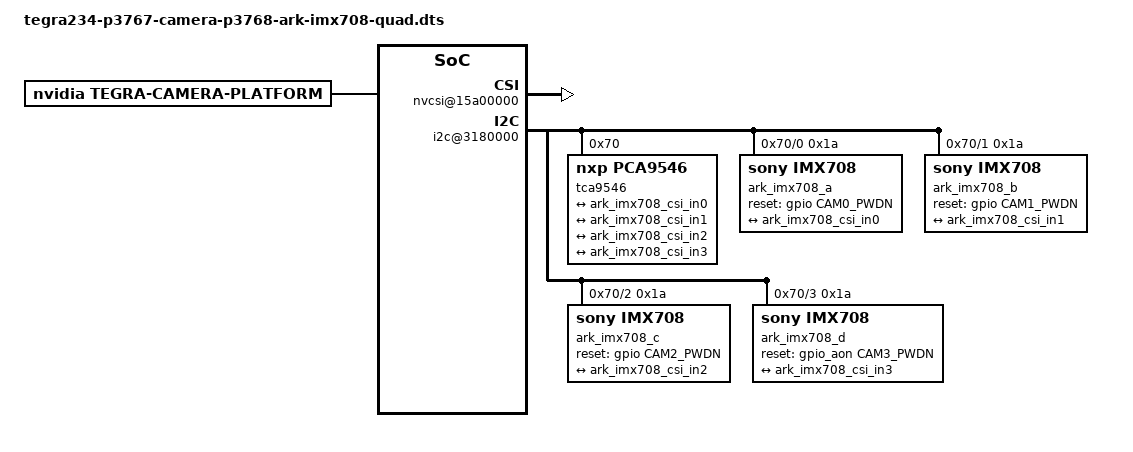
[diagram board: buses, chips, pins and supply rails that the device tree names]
// SPDX-License-Identifier: GPL-2.0-only
// SPDX-FileCopyrightText: Copyright (c) 2023-2024, NVIDIA CORPORATION & AFFILIATES. All rights reserved.
// SPDX-FileCopyrightText: Copyright (c) 2023, RidgeRun. All rights reserved.
//
// IMX708 (Raspberry Pi / Arducam Camera Module 3) 4-camera overlay for the ARK
// p3768 carrier (4x2-lane CSI). Carrier wiring (TCA9546 mux, per-port CAM reset and
// lane polarity) mirrors the IMX219 quad; sensor nodes and mode0 come from RidgeRun's
// IMX708 driver. One 10-bit mode, 4608x2592 @ ~14 fps, fixed focus.

/dts-v1/;
/plugin/;

#define CAM0_PWDN	TEGRA234_MAIN_GPIO(H, 6)
#define CAM1_PWDN	TEGRA234_MAIN_GPIO(AC, 0)
#define CAM2_PWDN	TEGRA234_MAIN_GPIO(Y, 4)
#define CAM3_PWDN	TEGRA234_AON_GPIO(CC, 3)
#define CAMERA_I2C_MUX_BUS(x) (0x1E + x)

#include <dt-bindings/tegra234-p3767-0000-common.h>

/ {
	overlay-name = "Camera ARK IMX708 Quad";
	jetson-header-name = "Jetson 22pin CSI Connector";
	compatible = JETSON_COMPATIBLE_P3768;

	fragment-camera@0 {
		target-path = "/";
		__overlay__ {
			tegra-capture-vi {
				num-channels = <4>;
				ports {
					#address-cells = <1>;
					#size-cells = <0>;
					port@0 {
						reg = <0>;
						ark_imx708_vi_in0: endpoint {
							port-index = <0>;
							bus-width = <2>;
							remote-endpoint = <&ark_imx708_csi_out0>;
						};
					};
					port@1 {
						reg = <1>;
						ark_imx708_vi_in1: endpoint {
							port-index = <1>;
							bus-width = <2>;
							remote-endpoint = <&ark_imx708_csi_out1>;
						};
					};
					port@2 {
						reg = <2>;
						ark_imx708_vi_in2: endpoint {
							port-index = <2>;
							bus-width = <2>;
							remote-endpoint = <&ark_imx708_csi_out2>;
						};
					};
					port@3 {
						reg = <3>;
						ark_imx708_vi_in3: endpoint {
							port-index = <3>;
							bus-width = <2>;
							remote-endpoint = <&ark_imx708_csi_out3>;
						};
					};
				};
			};
			tegra-camera-platform {
				compatible = "nvidia, tegra-camera-platform";
				num_csi_lanes = <8>;
				max_lane_speed = <2500000>;	/* imx708 pixel clock is 297.6 MHz vs imx219's 182.4 MHz */
				min_bits_per_pixel = <10>;
				vi_peak_byte_per_pixel = <2>;
				vi_bw_margin_pct = <25>;
				max_pixel_rate = <240000>;	/* per-stream ~167 Mpix/s, same as imx219 */
				isp_peak_byte_per_pixel = <5>;
				isp_bw_margin_pct = <25>;
				modules {
					module0 {
						badge = "ark_imx708_bottomleft_IMX708";
						position = "bottomleft";
						orientation = "0";
						drivernode0 {
							pcl_id = "v4l2_sensor";
							sysfs-device-tree = "/sys/firmware/devicetree/base/bus@0/i2c@3180000/tca9546@70/i2c@0/ark_imx708_a@1a";
						};
					};
					module1 {
						badge = "ark_imx708_bottomright_IMX708";
						position = "bottomright";
						orientation = "1";
						drivernode0 {
							pcl_id = "v4l2_sensor";
							sysfs-device-tree = "/sys/firmware/devicetree/base/bus@0/i2c@3180000/tca9546@70/i2c@1/ark_imx708_b@1a";
						};
					};
					module2 {
						badge = "ark_imx708_centerleft_IMX708";
						position = "centerleft";
						orientation = "2";
						drivernode0 {
							pcl_id = "v4l2_sensor";
							sysfs-device-tree = "/sys/firmware/devicetree/base/bus@0/i2c@3180000/tca9546@70/i2c@2/ark_imx708_c@1a";
						};
					};
					module3 {
						badge = "ark_imx708_centerright_IMX708";
						position = "centerright";
						orientation = "3";
						drivernode0 {
							pcl_id = "v4l2_sensor";
							sysfs-device-tree = "/sys/firmware/devicetree/base/bus@0/i2c@3180000/tca9546@70/i2c@3/ark_imx708_d@1a";
						};
					};
				};
			};
			bus@0 {
				host1x@13e00000 {
					nvcsi@15a00000 {
						num-channels = <4>;
						#address-cells = <1>;
						#size-cells = <0>;
						status = "okay";
						channel@0 {
							reg = <0>;
							ports {
								#address-cells = <1>;
								#size-cells = <0>;
								port@0 {
									reg = <0>;
									ark_imx708_csi_in0: endpoint@0 {
										port-index = <0>;
										bus-width = <2>;
										remote-endpoint = <&ark_imx708_out0>;
									};
								};
								port@1 {
									reg = <1>;
									ark_imx708_csi_out0: endpoint@1 {
										remote-endpoint = <&ark_imx708_vi_in0>;
									};
								};
							};
						};
						channel@1 {
							reg = <1>;
							ports {
								#address-cells = <1>;
								#size-cells = <0>;
								port@0 {
									reg = <0>;
									ark_imx708_csi_in1: endpoint@2 {
										port-index = <1>;
										bus-width = <2>;
										remote-endpoint = <&ark_imx708_out1>;
									};
								};
								port@1 {
									reg = <1>;
									ark_imx708_csi_out1: endpoint@3 {
										remote-endpoint = <&ark_imx708_vi_in1>;
									};
								};
							};
						};
						channel@2 {
							reg = <2>;
							ports {
								#address-cells = <1>;
								#size-cells = <0>;
								port@0 {
									reg = <0>;
									ark_imx708_csi_in2: endpoint@4 {
										port-index = <2>;
										bus-width = <2>;
										remote-endpoint = <&ark_imx708_out2>;
									};
								};
								port@1 {
									reg = <1>;
									ark_imx708_csi_out2: endpoint@5 {
										remote-endpoint = <&ark_imx708_vi_in2>;
									};
								};
							};
						};
						channel@3 {
							reg = <3>;
							ports {
								#address-cells = <1>;
								#size-cells = <0>;
								port@0 {
									reg = <0>;
									ark_imx708_csi_in3: endpoint@6 {
										port-index = <3>;
										bus-width = <2>;
										remote-endpoint = <&ark_imx708_out3>;
									};
								};
								port@1 {
									reg = <1>;
									ark_imx708_csi_out3: endpoint@7 {
										remote-endpoint = <&ark_imx708_vi_in3>;
									};
								};
							};
						};
					};
				};
				i2c@3180000 {
					#address-cells = <1>;
					#size-cells = <0>;
					tca9546@70 {
						status = "okay";
						compatible = "nxp,pca9546";
						#address-cells = <1>;
						#size-cells = <0>;
						reg = <0x70>;
						i2c-parent = <&cam_i2c>;
						skip_mux_detect = "yes";
						force_bus_start = <CAMERA_I2C_MUX_BUS(0)>;
						i2c@0 {
							reg = <0>;
							#address-cells = <1>;
							#size-cells = <0>;
							i2c-mux,deselect-on-exit;
							status = "okay";

							/* Disable the baked-default IMX219 quad on the shared TCA9546 buses so only IMX708 is active. */
							ark_imx219_a@10 {
								status = "disabled";
							};

							ark_imx708_a@1a {
								status = "okay";
								reset-gpios = <&gpio CAM0_PWDN GPIO_ACTIVE_HIGH>;
								compatible = "sony,imx708";
								reg = <0x1a>;
								devnode = "video0";
								physical_w = "6.45";
								physical_h = "3.63";
								sensor_model = "imx708";
								use_sensor_mode_id = "true";

								mode0 { /* IMX708_MODE_4608x2592_14FPS */
									mclk_khz = "24000";
									num_lanes = "2";
									tegra_sinterface = "serial_a";
									lane_polarity = "6";
									phy_mode = "DPHY";
									discontinuous_clk = "yes";
									dpcm_enable = "false";
									cil_settletime = "0";
									active_w = "4608";
									active_h = "2592";
									mode_type = "bayer";
									pixel_phase = "rggb";
									csi_pixel_bit_depth = "10";
									readout_orientation = "90";
									line_length = "4808";
									inherent_gain = "1";
									pix_clk_hz = "297600000";
									gain_factor = "16";
									framerate_factor = "1000000";
									exposure_factor = "1000000";
									min_gain_val = "16";
									max_gain_val = "256";
									step_gain_val = "1";
									default_gain = "16";
									min_hdr_ratio = "1";
									max_hdr_ratio = "1";
									min_framerate = "2000000";
									max_framerate = "14000000";
									step_framerate = "1";
									default_framerate = "14000000";
									min_exp_time = "500";
									max_exp_time = "65487";
									step_exp_time = "1";
									default_exp_time = "1600";
									embedded_metadata_height = "4";
								};

								ports {
									#address-cells = <1>;
									#size-cells = <0>;
									port@0 {
										reg = <0>;
										ark_imx708_out0: endpoint {
											status = "okay";
											port-index = <0>;
											bus-width = <2>;
											remote-endpoint = <&ark_imx708_csi_in0>;
										};
									};
								};
							};
						};
						i2c@1 {
							reg = <1>;
							#address-cells = <1>;
							#size-cells = <0>;
							i2c-mux,deselect-on-exit;
							status = "okay";

							ark_imx219_b@10 {
								status = "disabled";
							};

							ark_imx708_b@1a {
								status = "okay";
								reset-gpios = <&gpio CAM1_PWDN GPIO_ACTIVE_HIGH>;
								compatible = "sony,imx708";
								reg = <0x1a>;
								devnode = "video1";
								physical_w = "6.45";
								physical_h = "3.63";
								sensor_model = "imx708";
								use_sensor_mode_id = "true";

								mode0 { /* IMX708_MODE_4608x2592_14FPS */
									mclk_khz = "24000";
									num_lanes = "2";
									tegra_sinterface = "serial_b";
									lane_polarity = "6";
									phy_mode = "DPHY";
									discontinuous_clk = "yes";
									dpcm_enable = "false";
									cil_settletime = "0";
									active_w = "4608";
									active_h = "2592";
									mode_type = "bayer";
									pixel_phase = "rggb";
									csi_pixel_bit_depth = "10";
									readout_orientation = "90";
									line_length = "4808";
									inherent_gain = "1";
									pix_clk_hz = "297600000";
									gain_factor = "16";
									framerate_factor = "1000000";
									exposure_factor = "1000000";
									min_gain_val = "16";
									max_gain_val = "256";
									step_gain_val = "1";
									default_gain = "16";
									min_hdr_ratio = "1";
									max_hdr_ratio = "1";
									min_framerate = "2000000";
									max_framerate = "14000000";
									step_framerate = "1";
									default_framerate = "14000000";
									min_exp_time = "500";
									max_exp_time = "65487";
									step_exp_time = "1";
									default_exp_time = "1600";
									embedded_metadata_height = "4";
								};

								ports {
									#address-cells = <1>;
									#size-cells = <0>;
									port@0 {
										reg = <0>;
										ark_imx708_out1: endpoint {
											status = "okay";
											port-index = <1>;
											bus-width = <2>;
											remote-endpoint = <&ark_imx708_csi_in1>;
										};
									};
								};
							};
						};
						i2c@2 {
							reg = <2>;
							#address-cells = <1>;
							#size-cells = <0>;
							i2c-mux,deselect-on-exit;
							status = "okay";

							ark_imx219_c@10 {
								status = "disabled";
							};

							ark_imx708_c@1a {
								status = "okay";
								reset-gpios = <&gpio CAM2_PWDN GPIO_ACTIVE_HIGH>;
								compatible = "sony,imx708";
								reg = <0x1a>;
								devnode = "video2";
								physical_w = "6.45";
								physical_h = "3.63";
								sensor_model = "imx708";
								use_sensor_mode_id = "true";

								mode0 { /* IMX708_MODE_4608x2592_14FPS */
									mclk_khz = "24000";
									num_lanes = "2";
									tegra_sinterface = "serial_c";
									lane_polarity = "0";
									phy_mode = "DPHY";
									discontinuous_clk = "yes";
									dpcm_enable = "false";
									cil_settletime = "0";
									active_w = "4608";
									active_h = "2592";
									mode_type = "bayer";
									pixel_phase = "rggb";
									csi_pixel_bit_depth = "10";
									readout_orientation = "90";
									line_length = "4808";
									inherent_gain = "1";
									pix_clk_hz = "297600000";
									gain_factor = "16";
									framerate_factor = "1000000";
									exposure_factor = "1000000";
									min_gain_val = "16";
									max_gain_val = "256";
									step_gain_val = "1";
									default_gain = "16";
									min_hdr_ratio = "1";
									max_hdr_ratio = "1";
									min_framerate = "2000000";
									max_framerate = "14000000";
									step_framerate = "1";
									default_framerate = "14000000";
									min_exp_time = "500";
									max_exp_time = "65487";
									step_exp_time = "1";
									default_exp_time = "1600";
									embedded_metadata_height = "4";
								};

								ports {
									#address-cells = <1>;
									#size-cells = <0>;
									port@0 {
										reg = <0>;
										ark_imx708_out2: endpoint {
											status = "okay";
											port-index = <2>;
											bus-width = <2>;
											remote-endpoint = <&ark_imx708_csi_in2>;
										};
									};
								};
							};
						};
						i2c@3 {
							reg = <3>;
							#address-cells = <1>;
							#size-cells = <0>;
							i2c-mux,deselect-on-exit;
							status = "okay";

							ark_imx219_d@10 {
								status = "disabled";
							};

							ark_imx708_d@1a {
								status = "okay";
								reset-gpios = <&gpio_aon CAM3_PWDN GPIO_ACTIVE_HIGH>;
								compatible = "sony,imx708";
								reg = <0x1a>;
								devnode = "video3";
								physical_w = "6.45";
								physical_h = "3.63";
								sensor_model = "imx708";
								use_sensor_mode_id = "true";

								mode0 { /* IMX708_MODE_4608x2592_14FPS */
									mclk_khz = "24000";
									num_lanes = "2";
									tegra_sinterface = "serial_d";
									lane_polarity = "0";
									phy_mode = "DPHY";
									discontinuous_clk = "yes";
									dpcm_enable = "false";
									cil_settletime = "0";
									active_w = "4608";
									active_h = "2592";
									mode_type = "bayer";
									pixel_phase = "rggb";
									csi_pixel_bit_depth = "10";
									readout_orientation = "90";
									line_length = "4808";
									inherent_gain = "1";
									pix_clk_hz = "297600000";
									gain_factor = "16";
									framerate_factor = "1000000";
									exposure_factor = "1000000";
									min_gain_val = "16";
									max_gain_val = "256";
									step_gain_val = "1";
									default_gain = "16";
									min_hdr_ratio = "1";
									max_hdr_ratio = "1";
									min_framerate = "2000000";
									max_framerate = "14000000";
									step_framerate = "1";
									default_framerate = "14000000";
									min_exp_time = "500";
									max_exp_time = "65487";
									step_exp_time = "1";
									default_exp_time = "1600";
									embedded_metadata_height = "4";
								};

								ports {
									#address-cells = <1>;
									#size-cells = <0>;
									port@0 {
										reg = <0>;
										ark_imx708_out3: endpoint {
											status = "okay";
											port-index = <3>;
											bus-width = <2>;
											remote-endpoint = <&ark_imx708_csi_in3>;
										};
									};
								};
							};
						};
					};
				};
				gpio@2200000 {
					camera-control-output-high {
						gpios = <CAM0_PWDN 1 CAM1_PWDN 1 CAM2_PWDN 1 CAM3_PWDN 1>;
						label = "cam0-pwdn", "cam1-pwdn", "cam2-pwdn", "cam3-pwdn";
					};
				};
			};
		};
	};
};
